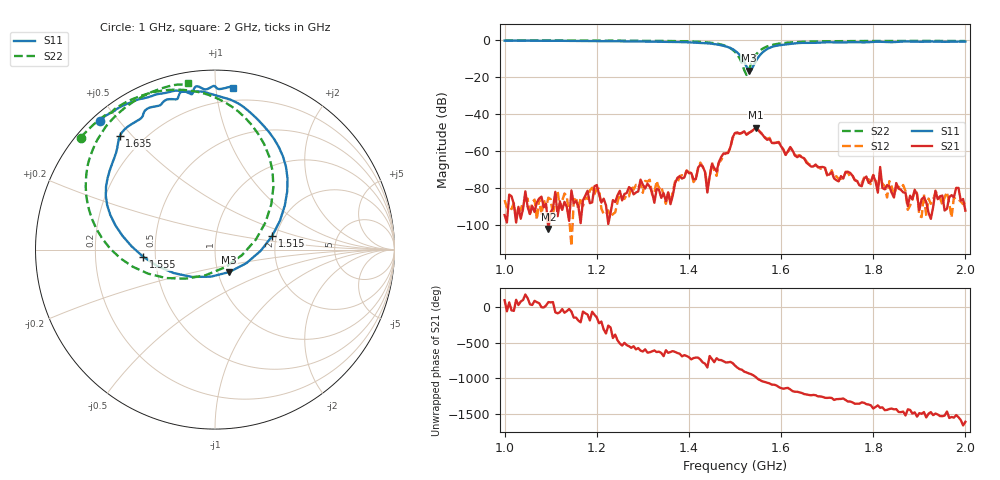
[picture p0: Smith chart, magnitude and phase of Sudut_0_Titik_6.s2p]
# Hz S RI R 50
! CMT, C1220, 16058040, 17.2.0/1
! Date: 14/08/2018 12:19:38
! Data: Format (Calibration Info)
! Freq  S11: Re/Im (F2)  S21: Re/Im (F2)  S12: Re/Im (F2)  S22: Re/Im (F2)
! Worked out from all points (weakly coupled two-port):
!   201 points, 1 GHz to 2 GHz, reference 50 ohm
!   highest |S21| = -47.44 dB at 1.545 GHz (marker M1); lowest = -102.4 dB at 1.095 GHz (marker M2)
!   lowest |S11| = -16.6 dB at 1.53 GHz (marker M3), VSWR 1.35, Z = 56.7 - j14.5 ohm
!   |S11| at or under -10 dB: 1.516 GHz to 1.549 GHz (33.26 MHz wide, 2.17 % of centre)
!   |S22| runs from -18.9 to -0.2 dB; largest |S21 - S12| = 0.00018
!   S11 on the Smith chart (normalised r, x): 1 GHz: 0.02, +0.45; 1.515 GHz: 1.90, +0.31; 1.555 GHz: 0.43, -0.04; 1.635 GHz: 0.12, +0.46; 2 GHz: 0.11, +1.11
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1e9  -0.6427 0.7163  -1.58e-06 1.8e-05  4.49e-05 9.54e-06  -0.748 0.624
1.095e9  -0.5484 0.7831  2.88e-06 7.02e-06  4.35e-05 3.09e-05  -0.679 0.6946
1.17e9  -0.4621 0.8232  1.88e-05 -4.13e-05  7.45e-07 3.13e-05  -0.6115 0.7486
1.335e9  -0.1928 0.8831  -4.75e-06 8.73e-05  5.06e-06 9.35e-05  -0.3963 0.862
1.395e9  -0.0306 0.8698  0.000243 0.000152  0.000263 0.000128  -0.2397 0.8904
1.41e9  0.0241 0.8536  0.000169 9.77e-06  0.000139 -2.93e-05  -0.1834 0.8902
1.425e9  0.0901 0.8335  0.000396 -0.000129  0.000446 -0.000166  -0.1155 0.8823
1.44e9  0.1481 0.8025  -4.58e-05 -5.79e-05  -7.69e-05 -8.54e-05  -0.0367 0.8622
1.45e9  0.1892 0.77  0.000424 -8.71e-05  0.000478 -9.78e-05  0.0251 0.8366
1.46e9  0.2406 0.722  0.000273 4.87e-06  0.000207 2.03e-05  0.093 0.7968
1.5e9  0.4023 0.3234  -0.000631 -0.00296  -0.000601 -0.00281  0.3254 0.3495
1.515e9  0.3174 0.0742  -0.00286 -0.00103  -0.00287 -0.00108  0.2273 0.0552
1.53e9  0.0796 -0.1251  -0.00257 0.00157  -0.00263 0.00161  -0.0532 -0.143
1.545e9  -0.2284 -0.131  -0.000592 0.0042  -0.000618 0.00415  -0.372 -0.1343
1.555e9  -0.3998 -0.0402  0.00187 0.0025  0.0018 0.00263  -0.5272 -0.0484
1.635e9  -0.5307 0.6314  -0.000215 -0.000634  -0.00021 -0.000695  -0.678 0.5644
1.67e9  -0.4175 0.7274  -0.000332 -0.000173  -0.000345 -0.000185  -0.6177 0.6711
1.81e9  -0.183 0.8806  3.66e-05 6.35e-05  7.66e-05 5.31e-05  -0.4047 0.853
1.815e9  -0.1731 0.8815  0.000324 0.000163  0.000172 6.49e-05  -0.398 0.8566
1.82e9  -0.162 0.8791  8.24e-05 5.22e-05  0.000104 -7.49e-05  -0.3911 0.8598
1.835e9  -0.1328 0.8661  0.000106 1.8e-05  0.000148 -2.62e-05  -0.3713 0.8696
2e9  0.0996 0.9021  -2.34e-05 -4.19e-06  -3.84e-05 1.05e-05  -0.1489 0.9279
